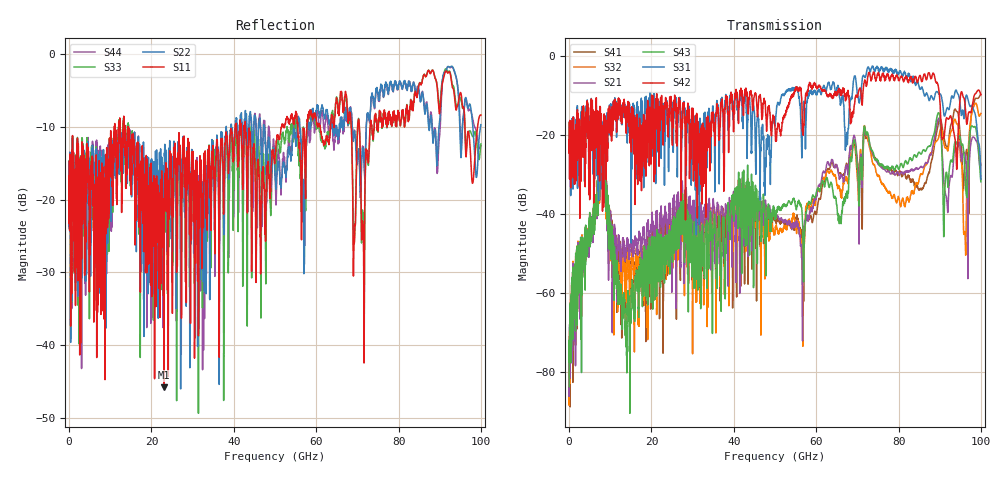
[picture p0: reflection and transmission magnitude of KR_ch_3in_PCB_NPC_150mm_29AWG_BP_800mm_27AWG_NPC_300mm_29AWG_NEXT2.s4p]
# GHz S RI R 45
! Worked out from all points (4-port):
!   4000 points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, 25 MHz to 100 GHz, reference 45 ohm
!   strongest paths, dB at 25 MHz, 25.02 GHz, 50.02 GHz, 75.03 GHz, 100 GHz:
!     S42: -21.3, -17.5, -18.0, -4.3, -9.8
!     S31: -21.2, -13.7, -17.5, -2.9, -31.1
!     S43: -83.8, -45.4, -41.0, -26.4, -31.8
!     S21: -81.7, -47.4, -40.8, -27.2, -27.3
!     S32: -83.4, -45.0, -44.3, -30.5, -14.5
!     S41: -88.4, -51.4, -41.3, -27.1, -9.6
!   lowest |S11| = -45.9 dB at 23.1 GHz (marker M1), VSWR 1.01, Z = 44.7 + j0.331 ohm
!   |S11| at or under -10 dB: start of sweep to 11.02 GHz; 14.38 GHz to 40.34 GHz (25.96 GHz wide, 94.9 % of centre); 42.82 GHz to 51.62 GHz (8.797 GHz wide, 18.6 % of centre) (the widest 3 of 37)
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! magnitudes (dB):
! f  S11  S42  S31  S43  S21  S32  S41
! 25 MHz  -16.7  -21.3  -21.2  -83.8  -81.7  -83.4  -88.4
! 8.025 GHz  -17.2  -27.6  -24.8  -24.2  -25.2  -25.0  -24.7
! 13.62 GHz  -11.0  -12.9  -12.3  -68.0  -51.7  -61.4  -54.1
! 23.1 GHz  -45.9  -16.9  -19.8  -49.5  -41.9  -47.5  -46.1
! 93.8 GHz  -7.1  -21.7  -8.8  -21.5  -22.9  -16.1  -13.4
! 96.1 GHz  -9.6  -11.7  -13.2  -28.5  -24.6  -44.6  -27.3
! 100 GHz  -8.4  -9.8  -31.1  -31.8  -27.3  -14.5  -9.6
